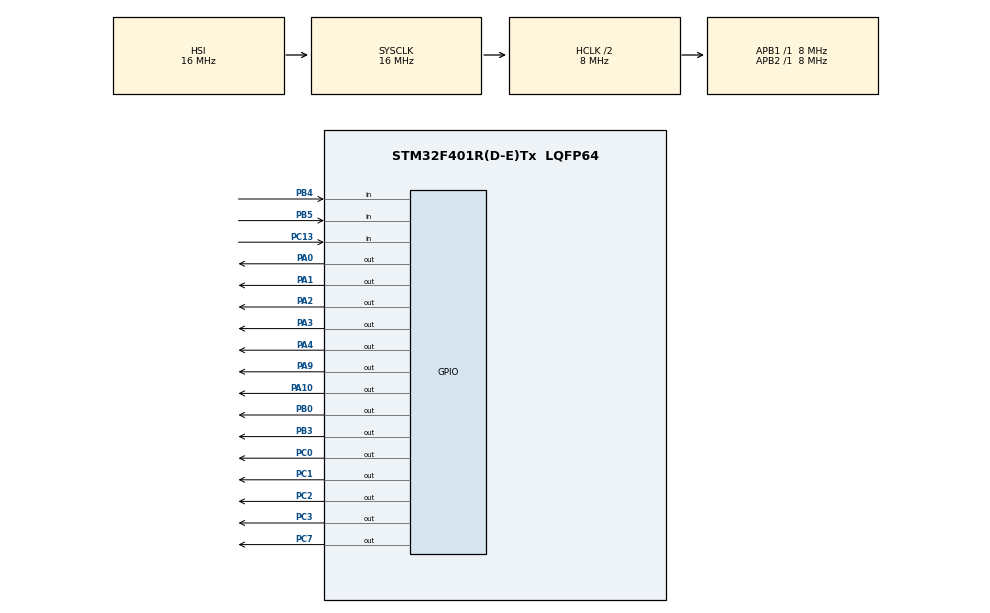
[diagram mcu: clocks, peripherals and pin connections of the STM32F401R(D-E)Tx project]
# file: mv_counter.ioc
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Mcu.Family=STM32F4
RCC.CortexFreq_Value=8000000
PC13-ANTI_TAMP.GPIO_PuPd=GPIO_PULLUP
PC2.Signal=GPIO_Output
PC0.Signal=GPIO_Output
ProjectManager.StackSize=0x400
PA0-WKUP.Signal=GPIO_Output
ProjectManager.TargetToolchain=Makefile
PB0.PinState=GPIO_PIN_RESET
RCC.HCLKFreq_Value=8000000
RCC.APB2TimFreq_Value=8000000
PA9.Signal=GPIO_Output
PC7.Signal=GPIO_Output
PC3.Signal=GPIO_Output
PB4.GPIO_PuPd=GPIO_PULLUP
PC1.PinState=GPIO_PIN_RESET
RCC.LSE_VALUE=32768
PA1.Signal=GPIO_Output
RCC.AHBFreq_Value=8000000
RCC.HSE_VALUE=25000000
board=custom
PC13-ANTI_TAMP.Signal=GPIO_Input
RCC.VCOOutputFreq_Value=192000000
RCC.APB2Freq_Value=8000000
RCC.AHBCLKDivider=RCC_SYSCLK_DIV2
Mcu.Name=STM32F401R(D-E)Tx
PA2.Signal=GPIO_Output
PB3.Signal=GPIO_Output
PA4.Signal=GPIO_Output
RCC.SYSCLKFreq_VALUE=16000000
Mcu.Package=LQFP64
PB5.Signal=GPIO_Input
PB5.GPIO_PuPd=GPIO_PULLUP
PA10.Signal=GPIO_Output
ProjectManager.HeapSize=0x200
RCC.HSI_VALUE=16000000
NVIC.PriorityGroup=NVIC_PRIORITYGROUP_4
RCC.APB1TimFreq_Value=8000000
PA0-WKUP.GPIO_PuPd=GPIO_NOPULL
RCC.APB1Freq_Value=8000000
PB0.Signal=GPIO_Output
PC1.Signal=GPIO_Output
PB4.Signal=GPIO_Input
PA3.Signal=GPIO_Output

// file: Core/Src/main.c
/* USER CODE BEGIN Header */
/**
  ******************************************************************************
  * @file           : main.c
  * @brief          : Main program body
  ******************************************************************************
  * @attention
  *
  * <h2><center>&copy; Copyright (c) 2021 STMicroelectronics.
  * All rights reserved.</center></h2>
  *
  * This software component is licensed by ST under BSD 3-Clause license,
  * the "License"; You may not use this file except in compliance with the
  * License. You may obtain a copy of the License at:
  *                        opensource.org/licenses/BSD-3-Clause
  *
  ******************************************************************************
  */
/* USER CODE END Header */
#include "main.h"

/* USER CODE BEGIN PD */
#define J1      0
#define J2      1
/* USER CODE END PD */

void SystemClock_Config(void);
static void MX_GPIO_Init(void);

/* USER CODE BEGIN 0 */

// LED INITIALIZATION
// MANCHE WHITE LED
GPIO_TypeDef *j1_manche_1_PORT = GPIOC;
uint16_t j1_manche_1_PIN = GPIO_PIN_0;

GPIO_TypeDef *j1_manche_2_PORT = GPIOA;
uint16_t j1_manche_2_PIN = GPIO_PIN_4;

GPIO_TypeDef *j2_manche_1_PORT = GPIOC;
uint16_t j2_manche_1_PIN = GPIO_PIN_1;

GPIO_TypeDef *j2_manche_2_PORT = GPIOB;
uint16_t j2_manche_2_PIN = GPIO_PIN_0;

// PARTIE GREEN LED
GPIO_TypeDef *j1_partie_1_PORT = GPIOA;
uint16_t j1_partie_1_PIN = GPIO_PIN_1;

GPIO_TypeDef *j1_partie_2_PORT = GPIOC;
uint16_t j1_partie_2_PIN = GPIO_PIN_3;

GPIO_TypeDef *j2_partie_1_PORT = GPIOC;
uint16_t j2_partie_1_PIN = GPIO_PIN_2;

GPIO_TypeDef *j2_partie_2_PORT = GPIOA;
uint16_t j2_partie_2_PIN = GPIO_PIN_0;

// ROYALE BLUE LED
GPIO_TypeDef *j1_royale_1_PORT = GPIOA;
uint16_t j1_royale_1_PIN = GPIO_PIN_10;

GPIO_TypeDef *j1_royale_2_PORT = GPIOA;
uint16_t j1_royale_2_PIN = GPIO_PIN_9;

GPIO_TypeDef *j2_royale_1_PORT = GPIOB;
uint16_t j2_royale_1_PIN = GPIO_PIN_3;

GPIO_TypeDef *j2_royale_2_PORT = GPIOC;
uint16_t j2_royale_2_PIN = GPIO_PIN_7;

// BUTTON INITIALISATION
GPIO_TypeDef *j1_button_PORT = GPIOB;
uint16_t j1_button_PIN = GPIO_PIN_5;

GPIO_TypeDef *j2_button_PORT = GPIOB;
uint16_t j2_button_PIN = GPIO_PIN_4;

void check_leds()
{
    // MANCHE
    HAL_GPIO_WritePin(j1_manche_1_PORT, j1_manche_1_PIN, GPIO_PIN_SET);
    HAL_GPIO_WritePin(j1_manche_2_PORT, j1_manche_2_PIN, GPIO_PIN_SET);
    HAL_GPIO_WritePin(j2_manche_1_PORT, j2_manche_1_PIN, GPIO_PIN_SET);
    HAL_GPIO_WritePin(j2_manche_2_PORT, j2_manche_2_PIN, GPIO_PIN_SET);

    //PARTIE
    HAL_GPIO_WritePin(j1_partie_1_PORT, j1_partie_1_PIN, GPIO_PIN_SET);
    HAL_GPIO_WritePin(j1_partie_2_PORT, j1_partie_2_PIN, GPIO_PIN_SET);
    HAL_GPIO_WritePin(j2_partie_1_PORT, j2_partie_1_PIN, GPIO_PIN_SET);
    HAL_GPIO_WritePin(j2_partie_2_PORT, j2_partie_2_PIN, GPIO_PIN_SET);

    //ROYALE
    HAL_GPIO_WritePin(j1_royale_1_PORT, j1_royale_1_PIN, GPIO_PIN_SET);
    HAL_GPIO_WritePin(j1_royale_2_PORT, j1_royale_2_PIN, GPIO_PIN_SET);
    HAL_GPIO_WritePin(j2_royale_1_PORT, j2_royale_1_PIN, GPIO_PIN_SET);
    HAL_GPIO_WritePin(j2_royale_2_PORT, j2_royale_2_PIN, GPIO_PIN_SET);
}

/* USER CODE END 0 */

int main(void)
{

  /* MCU Configuration--------------------------------------------------------*/

  /* Reset of all peripherals, Initializes the Flash interface and the Systick. */
  HAL_Init();

  /* Configure the system clock */
  SystemClock_Config();

  /* Initialize all configured peripherals */
  MX_GPIO_Init();
  /* USER CODE BEGIN 2 */
  // LED STATUS INITIALISATION
  GPIO_PinState j1_manche_1_STATUS = GPIO_PIN_RESET;
  GPIO_PinState j1_manche_2_STATUS = GPIO_PIN_RESET;
  GPIO_PinState j2_manche_1_STATUS = GPIO_PIN_RESET;
  GPIO_PinState j2_manche_2_STATUS = GPIO_PIN_RESET;

  GPIO_PinState j1_partie_1_STATUS = GPIO_PIN_RESET;
  GPIO_PinState j1_partie_2_STATUS = GPIO_PIN_RESET;
  GPIO_PinState j2_partie_1_STATUS = GPIO_PIN_RESET;
  GPIO_PinState j2_partie_2_STATUS = GPIO_PIN_RESET;

  GPIO_PinState j1_royale_1_STATUS = GPIO_PIN_RESET;
  GPIO_PinState j1_royale_2_STATUS = GPIO_PIN_RESET;
  GPIO_PinState j2_royale_1_STATUS = GPIO_PIN_RESET;
  GPIO_PinState j2_royale_2_STATUS = GPIO_PIN_RESET;

  // CHECK LEDS
  check_leds();
  for(int i=0; i<10000 ;i++) for(int j=0; j<500; j++) __NOP();

  /* USER CODE END 2 */

  /* Infinite loop */
  while (1)
  {

    /* USER CODE BEGIN 3 */

    // CHECK BUTTON
    if(HAL_GPIO_ReadPin(j1_button_PORT,j1_button_PIN) == GPIO_PIN_RESET)
    {
        // 1e PARTIE GAGNEE
        if (j1_manche_2_STATUS == GPIO_PIN_SET)
        {
            j1_manche_1_STATUS = GPIO_PIN_RESET;
            j1_manche_2_STATUS = GPIO_PIN_RESET;
            j2_manche_1_STATUS = GPIO_PIN_RESET;
            j2_manche_2_STATUS = GPIO_PIN_RESET;
            // 2e PARTIE GAGNEE
            if (j1_partie_1_STATUS == GPIO_PIN_SET)
            {

                // 1er ROYALE GAGNEE
                if (j1_partie_2_STATUS == GPIO_PIN_SET)
                {
                    j1_partie_1_STATUS = GPIO_PIN_RESET;
                    j1_partie_2_STATUS = GPIO_PIN_RESET;
                    j2_partie_1_STATUS = GPIO_PIN_RESET;
                    j2_partie_2_STATUS = GPIO_PIN_RESET;

                    // 2e ROYALE GAGNEE
                    if (j1_royale_1_STATUS == GPIO_PIN_SET)
                    {
                        // WIN TOTAL
                        if (j1_royale_2_STATUS == GPIO_PIN_SET)
                        {
                            // MEGA WIN
                            j1_royale_1_STATUS = GPIO_PIN_RESET;
                            j1_royale_2_STATUS = GPIO_PIN_RESET;
                            j2_royale_1_STATUS = GPIO_PIN_RESET;
                            j2_royale_2_STATUS = GPIO_PIN_RESET;
                        }
                        else
                        {
                            // 2e ROYALE GAGNEE
                            j1_royale_2_STATUS = GPIO_PIN_SET;
                        }
                    }
                    else
                    {
                        // 1e ROYALE GAGNEE
                        j1_royale_1_STATUS = GPIO_PIN_SET;
                    }
                }
                else
                {
                    // 2e PARTIE GAGNEE
                    j1_partie_2_STATUS = GPIO_PIN_SET;
                }
            }
            else
            {
                // 1e PARTIE GAGNEE
                j1_partie_1_STATUS = GPIO_PIN_SET;
            }
        }
        else
        {
            // 2e MANCHE GAGNE
            if (j1_manche_1_STATUS == GPIO_PIN_SET)
            {
                j1_manche_2_STATUS = GPIO_PIN_SET;
            }
            else
            {
                // 1e MANCHE GAGNE
                j1_manche_1_STATUS = GPIO_PIN_SET;
            }
        }
    }

    if(HAL_GPIO_ReadPin(j2_button_PORT,j2_button_PIN) == GPIO_PIN_RESET)
    {
        // 1e PARTIE GAGNEE
        if (j2_manche_2_STATUS == GPIO_PIN_SET)
        {
            j2_manche_1_STATUS = GPIO_PIN_RESET;
            j2_manche_2_STATUS = GPIO_PIN_RESET;
            j1_manche_1_STATUS = GPIO_PIN_RESET;
            j1_manche_2_STATUS = GPIO_PIN_RESET;
            // 2e PARTIE GAGNEE
            if (j2_partie_1_STATUS == GPIO_PIN_SET)
            {

                // 1er ROYALE GAGNEE
                if (j2_partie_2_STATUS == GPIO_PIN_SET)
                {
                    j2_partie_1_STATUS = GPIO_PIN_RESET;
                    j2_partie_2_STATUS = GPIO_PIN_RESET;
                    j1_partie_1_STATUS = GPIO_PIN_RESET;
                    j1_partie_2_STATUS = GPIO_PIN_RESET;

                    // 2e ROYALE GAGNEE
                    if (j2_royale_1_STATUS == GPIO_PIN_SET)
                    {
                        // WIN TOTAL
                        if (j2_royale_2_STATUS == GPIO_PIN_SET)
                        {
                            // MEGA WIN
                            j2_royale_1_STATUS = GPIO_PIN_RESET;
                            j2_royale_2_STATUS = GPIO_PIN_RESET;
                            j1_royale_1_STATUS = GPIO_PIN_RESET;
                            j1_royale_2_STATUS = GPIO_PIN_RESET;
                        }
                        else
                        {
                            // 2e ROYALE GAGNEE
                            j2_royale_2_STATUS = GPIO_PIN_SET;
                        }
                    }
                    else
                    {
                        // 1e ROYALE GAGNEE
                        j2_royale_1_STATUS = GPIO_PIN_SET;
                    }
                }
                else
                {
                    // 2e PARTIE GAGNEE
                    j2_partie_2_STATUS = GPIO_PIN_SET;
                }
            }
            else
            {
                // 1e PARTIE GAGNEE
                j2_partie_1_STATUS = GPIO_PIN_SET;
            }
        }
        else
        {
            // 2e MANCHE GAGNE
            if (j2_manche_1_STATUS == GPIO_PIN_SET)
            {
                j2_manche_2_STATUS = GPIO_PIN_SET;
            }
            else
            {
                // 1e MANCHE GAGNE
                j2_manche_1_STATUS = GPIO_PIN_SET;
            }
        }
    }

    // LED UPDATE
    // MANCHE
    HAL_GPIO_WritePin(j1_manche_1_PORT, j1_manche_1_PIN, j1_manche_1_STATUS);
    HAL_GPIO_WritePin(j1_manche_2_PORT, j1_manche_2_PIN, j1_manche_2_STATUS);
    HAL_GPIO_WritePin(j2_manche_1_PORT, j2_manche_1_PIN, j2_manche_1_STATUS);
    HAL_GPIO_WritePin(j2_manche_2_PORT, j2_manche_2_PIN, j2_manche_2_STATUS);

    //PARTIE
    HAL_GPIO_WritePin(j1_partie_1_PORT, j1_partie_1_PIN, j1_partie_1_STATUS);
    HAL_GPIO_WritePin(j1_partie_2_PORT, j1_partie_2_PIN, j1_partie_2_STATUS);
    HAL_GPIO_WritePin(j2_partie_1_PORT, j2_partie_1_PIN, j2_partie_1_STATUS);
    HAL_GPIO_WritePin(j2_partie_2_PORT, j2_partie_2_PIN, j2_partie_2_STATUS);

    // ROYALE
    HAL_GPIO_WritePin(j1_royale_1_PORT, j1_royale_1_PIN, j1_royale_1_STATUS);
    HAL_GPIO_WritePin(j1_royale_2_PORT, j1_royale_2_PIN, j1_royale_2_STATUS);
    HAL_GPIO_WritePin(j2_royale_1_PORT, j2_royale_1_PIN, j2_royale_1_STATUS);
    HAL_GPIO_WritePin(j2_royale_2_PORT, j2_royale_2_PIN, j2_royale_2_STATUS);

    // DELAY TO AVOID MULTIPLE BUTTON INTERUPTION
    for(int i=0; i<1000 ;i++) for(int j=0; j<500; j++) __NOP();

  }

  /* USER CODE END 3 */
}

void SystemClock_Config(void)
{
  RCC_OscInitTypeDef RCC_OscInitStruct = {0};
  RCC_ClkInitTypeDef RCC_ClkInitStruct = {0};

  /** Configure the main internal regulator output voltage
  */
  __HAL_RCC_PWR_CLK_ENABLE();
  __HAL_PWR_VOLTAGESCALING_CONFIG(PWR_REGULATOR_VOLTAGE_SCALE2);
  /** Initializes the RCC Oscillators according to the specified parameters
  * in the RCC_OscInitTypeDef structure.
  */
  RCC_OscInitStruct.OscillatorType = RCC_OSCILLATORTYPE_HSI;
  RCC_OscInitStruct.HSIState = RCC_HSI_ON;
  RCC_OscInitStruct.HSICalibrationValue = RCC_HSICALIBRATION_DEFAULT;
  RCC_OscInitStruct.PLL.PLLState = RCC_PLL_NONE;
  if (HAL_RCC_OscConfig(&RCC_OscInitStruct) != HAL_OK)
  {
    Error_Handler();
  }
  /** Initializes the CPU, AHB and APB buses clocks
  */
  RCC_ClkInitStruct.ClockType = RCC_CLOCKTYPE_HCLK|RCC_CLOCKTYPE_SYSCLK
                              |RCC_CLOCKTYPE_PCLK1|RCC_CLOCKTYPE_PCLK2;
  RCC_ClkInitStruct.SYSCLKSource = RCC_SYSCLKSOURCE_HSI;
  RCC_ClkInitStruct.AHBCLKDivider = RCC_SYSCLK_DIV2;
  RCC_ClkInitStruct.APB1CLKDivider = RCC_HCLK_DIV1;
  RCC_ClkInitStruct.APB2CLKDivider = RCC_HCLK_DIV1;

  if (HAL_RCC_ClockConfig(&RCC_ClkInitStruct, FLASH_LATENCY_0) != HAL_OK)
  {
    Error_Handler();
  }
}

static void MX_GPIO_Init(void)
{
  GPIO_InitTypeDef GPIO_InitStruct = {0};

  /* GPIO Ports Clock Enable */
  __HAL_RCC_GPIOC_CLK_ENABLE();
  __HAL_RCC_GPIOA_CLK_ENABLE();
  __HAL_RCC_GPIOB_CLK_ENABLE();

  /*Configure GPIO pin Output Level */
  HAL_GPIO_WritePin(GPIOC, GPIO_PIN_0|GPIO_PIN_1|GPIO_PIN_2|GPIO_PIN_3
                          |GPIO_PIN_7, GPIO_PIN_RESET);

  /*Configure GPIO pin Output Level */
  HAL_GPIO_WritePin(GPIOA, GPIO_PIN_0|GPIO_PIN_1|GPIO_PIN_2|GPIO_PIN_3
                          |GPIO_PIN_4|GPIO_PIN_9|GPIO_PIN_10, GPIO_PIN_RESET);

  /*Configure GPIO pin Output Level */
  HAL_GPIO_WritePin(GPIOB, GPIO_PIN_0|GPIO_PIN_3, GPIO_PIN_RESET);

  /*Configure GPIO pin : PC13 */
  GPIO_InitStruct.Pin = GPIO_PIN_13;
  GPIO_InitStruct.Mode = GPIO_MODE_INPUT;
  GPIO_InitStruct.Pull = GPIO_PULLUP;
  HAL_GPIO_Init(GPIOC, &GPIO_InitStruct);

  /*Configure GPIO pins : PC0 PC1 PC2 PC3
                           PC7 */
  GPIO_InitStruct.Pin = GPIO_PIN_0|GPIO_PIN_1|GPIO_PIN_2|GPIO_PIN_3
                          |GPIO_PIN_7;
  GPIO_InitStruct.Mode = GPIO_MODE_OUTPUT_PP;
  GPIO_InitStruct.Pull = GPIO_NOPULL;
  GPIO_InitStruct.Speed = GPIO_SPEED_FREQ_LOW;
  HAL_GPIO_Init(GPIOC, &GPIO_InitStruct);

  /*Configure GPIO pins : PA0 PA1 PA2 PA3
                           PA4 PA9 PA10 */
  GPIO_InitStruct.Pin = GPIO_PIN_0|GPIO_PIN_1|GPIO_PIN_2|GPIO_PIN_3
                          |GPIO_PIN_4|GPIO_PIN_9|GPIO_PIN_10;
  GPIO_InitStruct.Mode = GPIO_MODE_OUTPUT_PP;
  GPIO_InitStruct.Pull = GPIO_NOPULL;
  GPIO_InitStruct.Speed = GPIO_SPEED_FREQ_LOW;
  HAL_GPIO_Init(GPIOA, &GPIO_InitStruct);

  /*Configure GPIO pins : PB0 PB3 */
  GPIO_InitStruct.Pin = GPIO_PIN_0|GPIO_PIN_3;
  GPIO_InitStruct.Mode = GPIO_MODE_OUTPUT_PP;
  GPIO_InitStruct.Pull = GPIO_NOPULL;
  GPIO_InitStruct.Speed = GPIO_SPEED_FREQ_LOW;
  HAL_GPIO_Init(GPIOB, &GPIO_InitStruct);

  /*Configure GPIO pins : PB4 PB5 */
  GPIO_InitStruct.Pin = GPIO_PIN_4|GPIO_PIN_5;
  GPIO_InitStruct.Mode = GPIO_MODE_INPUT;
  GPIO_InitStruct.Pull = GPIO_PULLUP;
  HAL_GPIO_Init(GPIOB, &GPIO_InitStruct);

}

void Error_Handler(void)
{
  __disable_irq();
  while (1)
  {
  }
}

/************************ (C) COPYRIGHT STMicroelectronics *****END OF FILE****/
